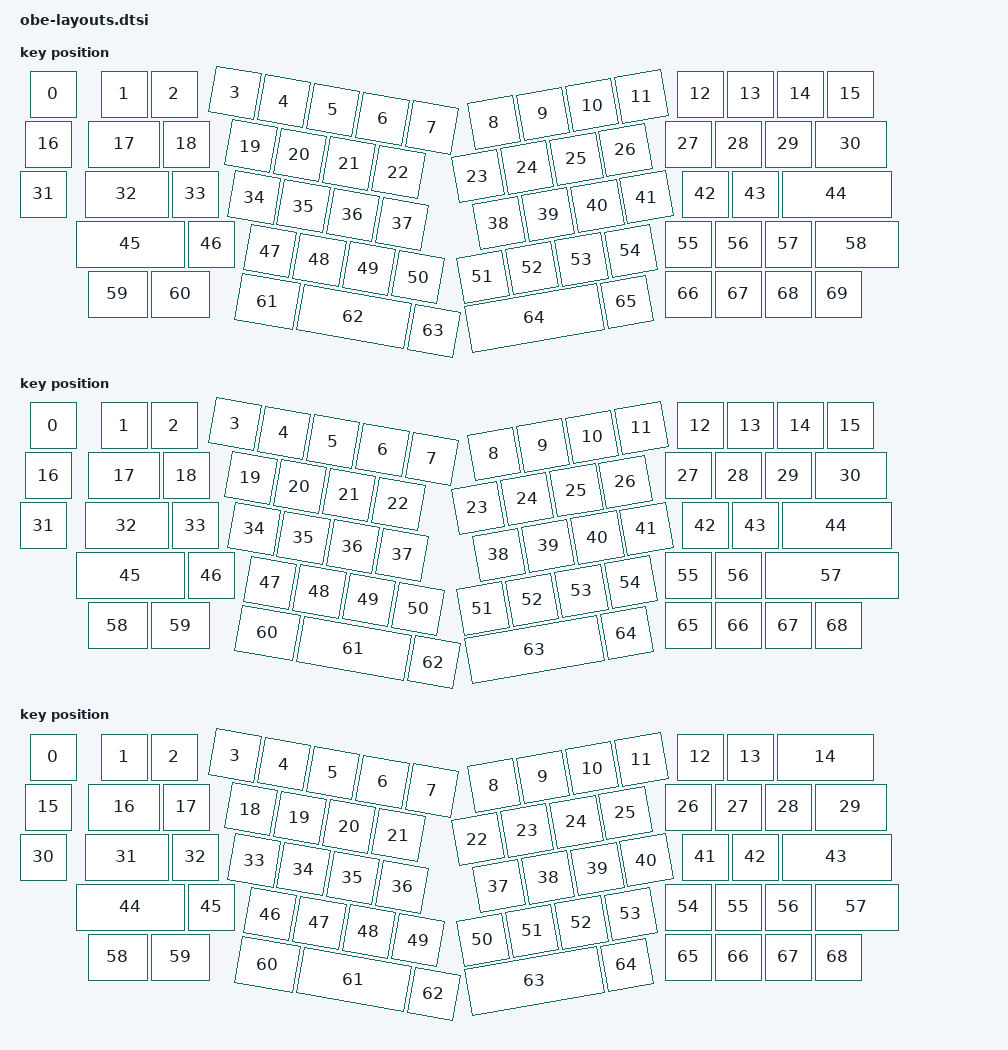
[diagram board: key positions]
/*
 * Copyright (c) 2024 The ZMK Contributors
 *
 * SPDX-License-Identifier: MIT
 */

#include <physical_layouts.dtsi>

/ {
    default_layout: keymap_layout_0 {
        compatible = "zmk,physical-layout";
        display-name = "Split Backspace/Arrows";

        transform = <&default_transform>;

        keys  //                     w   h    x    y     rot   rx   ry
            = <&key_physical_attrs 100 100   20   11       0    0    0>
            , <&key_physical_attrs 100 100  162   11       0    0    0>
            , <&key_physical_attrs 100 100  262   11       0    0    0>
            , <&key_physical_attrs 100 100  340  (-44)    1000  114  281>
            , <&key_physical_attrs 100 100  440  (-44)    1000  114  281>
            , <&key_physical_attrs 100 100  540  (-44)    1000  114  281>
            , <&key_physical_attrs 100 100  640  (-44)    1000  114  281>
            , <&key_physical_attrs 100 100  740  (-44)    1000  114  281>
            , <&key_physical_attrs 100 100  940   56 (-1000) 1040  331>
            , <&key_physical_attrs 100 100 1040   56 (-1000) 1040  331>
            , <&key_physical_attrs 100 100 1140   56 (-1000) 1040  331>
            , <&key_physical_attrs 100 100 1240   56 (-1000) 1040  331>
            , <&key_physical_attrs 100 100 1315   11       0    0    0>
            , <&key_physical_attrs 100 100 1415   11       0    0    0>
            , <&key_physical_attrs 100 100 1515   11       0    0    0>
            , <&key_physical_attrs 100 100 1614   11       0    0    0>
            , <&key_physical_attrs 100 100   10  111       0    0    0>
            , <&key_physical_attrs 150 100  137  111       0    0    0>
            , <&key_physical_attrs 100 100  287  111       0    0    0>
            , <&key_physical_attrs 100 100  390   56    1000  114  281>
            , <&key_physical_attrs 100 100  490   56    1000  114  281>
            , <&key_physical_attrs 100 100  590   56    1000  114  281>
            , <&key_physical_attrs 100 100  690   56    1000  114  281>
            , <&key_physical_attrs 100 100  890  156 (-1000) 1040  331>
            , <&key_physical_attrs 100 100  990  156 (-1000) 1040  331>
            , <&key_physical_attrs 100 100 1090  156 (-1000) 1040  331>
            , <&key_physical_attrs 100 100 1190  156 (-1000) 1040  331>
            , <&key_physical_attrs 100 100 1290  111       0    0    0>
            , <&key_physical_attrs 100 100 1390  111       0    0    0>
            , <&key_physical_attrs 100 100 1490  111       0    0    0>
            , <&key_physical_attrs 150 100 1590  111       0    0    0>
            , <&key_physical_attrs 100 100    0  211       0    0    0>
            , <&key_physical_attrs 175 100  130  211       0    0    0>
            , <&key_physical_attrs 100 100  305  211       0    0    0>
            , <&key_physical_attrs 100 100  415  156    1000  114  281>
            , <&key_physical_attrs 100 100  515  156    1000  114  281>
            , <&key_physical_attrs 100 100  615  156    1000  114  281>
            , <&key_physical_attrs 100 100  715  156    1000  114  281>
            , <&key_physical_attrs 100 100  915  256 (-1000) 1040  331>
            , <&key_physical_attrs 100 100 1015  256 (-1000) 1040  331>
            , <&key_physical_attrs 100 100 1115  256 (-1000) 1040  331>
            , <&key_physical_attrs 100 100 1215  256 (-1000) 1040  331>
            , <&key_physical_attrs 100 100 1325  211       0    0    0>
            , <&key_physical_attrs 100 100 1425  211       0    0    0>
            , <&key_physical_attrs 225 100 1525  211       0    0    0>
            , <&key_physical_attrs 225 100  112  311       0    0    0>
            , <&key_physical_attrs 100 100  337  311       0    0    0>
            , <&key_physical_attrs 100 100  465  256    1000  114  281>
            , <&key_physical_attrs 100 100  565  256    1000  114  281>
            , <&key_physical_attrs 100 100  665  256    1000  114  281>
            , <&key_physical_attrs 100 100  765  256    1000  114  281>
            , <&key_physical_attrs 100 100  865  356 (-1000) 1040  331>
            , <&key_physical_attrs 100 100  965  356 (-1000) 1040  331>
            , <&key_physical_attrs 100 100 1065  356 (-1000) 1040  331>
            , <&key_physical_attrs 100 100 1165  356 (-1000) 1040  331>
            , <&key_physical_attrs 100 100 1290  311       0    0    0>
            , <&key_physical_attrs 100 100 1390  311       0    0    0>
            , <&key_physical_attrs 100 100 1490  311       0    0    0>
            , <&key_physical_attrs 175 100 1590  311       0    0    0>
            , <&key_physical_attrs 125 100  137  411       0    0    0>
            , <&key_physical_attrs 125 100  262  411       0    0    0>
            , <&key_physical_attrs 125 100  465  356    1000  114  281>
            , <&key_physical_attrs 225 100  590  356    1000  114  281>
            , <&key_physical_attrs 100 100  815  356    1000  114  281>
            , <&key_physical_attrs 275 100  865  455 (-1000) 1040  331>
            , <&key_physical_attrs 100 100 1140  455 (-1000) 1040  331>
            , <&key_physical_attrs 100 100 1290  411       0    0    0>
            , <&key_physical_attrs 100 100 1390  411       0    0    0>
            , <&key_physical_attrs 100 100 1490  411       0    0    0>
            , <&key_physical_attrs 100 100 1590  411       0    0    0>
            ;

    };

    full_rshift_layout: keymap_layout_1 {
        compatible = "zmk,physical-layout";
        display-name = "Split Backspace/Arrowless";

        transform = <&full_rshift_transform>;

        keys  //                     w   h    x    y     rot   rx   ry
            = <&key_physical_attrs 100 100   20   11       0    0    0>
            , <&key_physical_attrs 100 100  162   11       0    0    0>
            , <&key_physical_attrs 100 100  262   11       0    0    0>
            , <&key_physical_attrs 100 100  340  (-44)    1000  114  281>
            , <&key_physical_attrs 100 100  440  (-44)    1000  114  281>
            , <&key_physical_attrs 100 100  540  (-44)    1000  114  281>
            , <&key_physical_attrs 100 100  640  (-44)    1000  114  281>
            , <&key_physical_attrs 100 100  740  (-44)    1000  114  281>
            , <&key_physical_attrs 100 100  940   56 (-1000) 1040  331>
            , <&key_physical_attrs 100 100 1040   56 (-1000) 1040  331>
            , <&key_physical_attrs 100 100 1140   56 (-1000) 1040  331>
            , <&key_physical_attrs 100 100 1240   56 (-1000) 1040  331>
            , <&key_physical_attrs 100 100 1315   11       0    0    0>
            , <&key_physical_attrs 100 100 1415   11       0    0    0>
            , <&key_physical_attrs 100 100 1515   11       0    0    0>
            , <&key_physical_attrs 100 100 1614   11       0    0    0>
            , <&key_physical_attrs 100 100   10  111       0    0    0>
            , <&key_physical_attrs 150 100  137  111       0    0    0>
            , <&key_physical_attrs 100 100  287  111       0    0    0>
            , <&key_physical_attrs 100 100  390   56    1000  114  281>
            , <&key_physical_attrs 100 100  490   56    1000  114  281>
            , <&key_physical_attrs 100 100  590   56    1000  114  281>
            , <&key_physical_attrs 100 100  690   56    1000  114  281>
            , <&key_physical_attrs 100 100  890  156 (-1000) 1040  331>
            , <&key_physical_attrs 100 100  990  156 (-1000) 1040  331>
            , <&key_physical_attrs 100 100 1090  156 (-1000) 1040  331>
            , <&key_physical_attrs 100 100 1190  156 (-1000) 1040  331>
            , <&key_physical_attrs 100 100 1290  111       0    0    0>
            , <&key_physical_attrs 100 100 1390  111       0    0    0>
            , <&key_physical_attrs 100 100 1490  111       0    0    0>
            , <&key_physical_attrs 150 100 1590  111       0    0    0>
            , <&key_physical_attrs 100 100    0  211       0    0    0>
            , <&key_physical_attrs 175 100  130  211       0    0    0>
            , <&key_physical_attrs 100 100  305  211       0    0    0>
            , <&key_physical_attrs 100 100  415  156    1000  114  281>
            , <&key_physical_attrs 100 100  515  156    1000  114  281>
            , <&key_physical_attrs 100 100  615  156    1000  114  281>
            , <&key_physical_attrs 100 100  715  156    1000  114  281>
            , <&key_physical_attrs 100 100  915  256 (-1000) 1040  331>
            , <&key_physical_attrs 100 100 1015  256 (-1000) 1040  331>
            , <&key_physical_attrs 100 100 1115  256 (-1000) 1040  331>
            , <&key_physical_attrs 100 100 1215  256 (-1000) 1040  331>
            , <&key_physical_attrs 100 100 1325  211       0    0    0>
            , <&key_physical_attrs 100 100 1425  211       0    0    0>
            , <&key_physical_attrs 225 100 1525  211       0    0    0>
            , <&key_physical_attrs 225 100  112  311       0    0    0>
            , <&key_physical_attrs 100 100  337  311       0    0    0>
            , <&key_physical_attrs 100 100  465  256    1000  114  281>
            , <&key_physical_attrs 100 100  565  256    1000  114  281>
            , <&key_physical_attrs 100 100  665  256    1000  114  281>
            , <&key_physical_attrs 100 100  765  256    1000  114  281>
            , <&key_physical_attrs 100 100  865  356 (-1000) 1040  331>
            , <&key_physical_attrs 100 100  965  356 (-1000) 1040  331>
            , <&key_physical_attrs 100 100 1065  356 (-1000) 1040  331>
            , <&key_physical_attrs 100 100 1165  356 (-1000) 1040  331>
            , <&key_physical_attrs 100 100 1290  311       0    0    0>
            , <&key_physical_attrs 100 100 1390  311       0    0    0>
            , <&key_physical_attrs 275 100 1490  311       0    0    0>
            , <&key_physical_attrs 125 100  137  411       0    0    0>
            , <&key_physical_attrs 125 100  262  411       0    0    0>
            , <&key_physical_attrs 125 100  465  356    1000  114  281>
            , <&key_physical_attrs 225 100  590  356    1000  114  281>
            , <&key_physical_attrs 100 100  815  356    1000  114  281>
            , <&key_physical_attrs 275 100  865  455 (-1000) 1040  331>
            , <&key_physical_attrs 100 100 1140  455 (-1000) 1040  331>
            , <&key_physical_attrs 100 100 1290  411       0    0    0>
            , <&key_physical_attrs 100 100 1390  411       0    0    0>
            , <&key_physical_attrs 100 100 1490  411       0    0    0>
            , <&key_physical_attrs 100 100 1590  411       0    0    0>
            ;
    };

    full_backspace_layout: keymap_layout_2 {
        compatible = "zmk,physical-layout";
        display-name = "Full Backspace/Arrows";

        transform = <&full_backspace_transform>;

        keys  //                     w   h    x    y     rot   rx   ry
            = <&key_physical_attrs 100 100   20   11       0    0    0>
            , <&key_physical_attrs 100 100  162   11       0    0    0>
            , <&key_physical_attrs 100 100  262   11       0    0    0>
            , <&key_physical_attrs 100 100  340  (-44)    1000  114  281>
            , <&key_physical_attrs 100 100  440  (-44)    1000  114  281>
            , <&key_physical_attrs 100 100  540  (-44)    1000  114  281>
            , <&key_physical_attrs 100 100  640  (-44)    1000  114  281>
            , <&key_physical_attrs 100 100  740  (-44)    1000  114  281>
            , <&key_physical_attrs 100 100  940   56 (-1000) 1040  331>
            , <&key_physical_attrs 100 100 1040   56 (-1000) 1040  331>
            , <&key_physical_attrs 100 100 1140   56 (-1000) 1040  331>
            , <&key_physical_attrs 100 100 1240   56 (-1000) 1040  331>
            , <&key_physical_attrs 100 100 1315   11       0    0    0>
            , <&key_physical_attrs 100 100 1415   11       0    0    0>
            , <&key_physical_attrs 200 100 1515   11       0    0    0>
            , <&key_physical_attrs 100 100   10  111       0    0    0>
            , <&key_physical_attrs 150 100  137  111       0    0    0>
            , <&key_physical_attrs 100 100  287  111       0    0    0>
            , <&key_physical_attrs 100 100  390   56    1000  114  281>
            , <&key_physical_attrs 100 100  490   56    1000  114  281>
            , <&key_physical_attrs 100 100  590   56    1000  114  281>
            , <&key_physical_attrs 100 100  690   56    1000  114  281>
            , <&key_physical_attrs 100 100  890  156 (-1000) 1040  331>
            , <&key_physical_attrs 100 100  990  156 (-1000) 1040  331>
            , <&key_physical_attrs 100 100 1090  156 (-1000) 1040  331>
            , <&key_physical_attrs 100 100 1190  156 (-1000) 1040  331>
            , <&key_physical_attrs 100 100 1290  111       0    0    0>
            , <&key_physical_attrs 100 100 1390  111       0    0    0>
            , <&key_physical_attrs 100 100 1490  111       0    0    0>
            , <&key_physical_attrs 150 100 1590  111       0    0    0>
            , <&key_physical_attrs 100 100    0  211       0    0    0>
            , <&key_physical_attrs 175 100  130  211       0    0    0>
            , <&key_physical_attrs 100 100  305  211       0    0    0>
            , <&key_physical_attrs 100 100  415  156    1000  114  281>
            , <&key_physical_attrs 100 100  515  156    1000  114  281>
            , <&key_physical_attrs 100 100  615  156    1000  114  281>
            , <&key_physical_attrs 100 100  715  156    1000  114  281>
            , <&key_physical_attrs 100 100  915  256 (-1000) 1040  331>
            , <&key_physical_attrs 100 100 1015  256 (-1000) 1040  331>
            , <&key_physical_attrs 100 100 1115  256 (-1000) 1040  331>
            , <&key_physical_attrs 100 100 1215  256 (-1000) 1040  331>
            , <&key_physical_attrs 100 100 1325  211       0    0    0>
            , <&key_physical_attrs 100 100 1425  211       0    0    0>
            , <&key_physical_attrs 225 100 1525  211       0    0    0>
            , <&key_physical_attrs 225 100  112  311       0    0    0>
            , <&key_physical_attrs 100 100  337  311       0    0    0>
            , <&key_physical_attrs 100 100  465  256    1000  114  281>
            , <&key_physical_attrs 100 100  565  256    1000  114  281>
            , <&key_physical_attrs 100 100  665  256    1000  114  281>
            , <&key_physical_attrs 100 100  765  256    1000  114  281>
            , <&key_physical_attrs 100 100  865  356 (-1000) 1040  331>
            , <&key_physical_attrs 100 100  965  356 (-1000) 1040  331>
            , <&key_physical_attrs 100 100 1065  356 (-1000) 1040  331>
            , <&key_physical_attrs 100 100 1165  356 (-1000) 1040  331>
            , <&key_physical_attrs 100 100 1290  311       0    0    0>
            , <&key_physical_attrs 100 100 1390  311       0    0    0>
            , <&key_physical_attrs 100 100 1490  311       0    0    0>
            , <&key_physical_attrs 175 100 1590  311       0    0    0>
            , <&key_physical_attrs 125 100  137  411       0    0    0>
            , <&key_physical_attrs 125 100  262  411       0    0    0>
            , <&key_physical_attrs 125 100  465  356    1000  114  281>
            , <&key_physical_attrs 225 100  590  356    1000  114  281>
            , <&key_physical_attrs 100 100  815  356    1000  114  281>
            , <&key_physical_attrs 275 100  865  455 (-1000) 1040  331>
            , <&key_physical_attrs 100 100 1140  455 (-1000) 1040  331>
            , <&key_physical_attrs 100 100 1290  411       0    0    0>
            , <&key_physical_attrs 100 100 1390  411       0    0    0>
            , <&key_physical_attrs 100 100 1490  411       0    0    0>
            , <&key_physical_attrs 100 100 1590  411       0    0    0>
            ;
    };

    full_backspace_full_rshift_layout: keymap_layout_3 {
        compatible = "zmk,physical-layout";
        display-name = "Full Backspace/Arrowless";

        transform = <&full_backspace_full_rshift_transform>;

        keys  //                     w   h    x    y     rot   rx   ry
            = <&key_physical_attrs 100 100   20   11       0    0    0>
            , <&key_physical_attrs 100 100  162   11       0    0    0>
            , <&key_physical_attrs 100 100  262   11       0    0    0>
            , <&key_physical_attrs 100 100  340  (-44)    1000  114  281>
            , <&key_physical_attrs 100 100  440  (-44)    1000  114  281>
            , <&key_physical_attrs 100 100  540  (-44)    1000  114  281>
            , <&key_physical_attrs 100 100  640  (-44)    1000  114  281>
            , <&key_physical_attrs 100 100  740  (-44)    1000  114  281>
            , <&key_physical_attrs 100 100  940   56 (-1000) 1040  331>
            , <&key_physical_attrs 100 100 1040   56 (-1000) 1040  331>
            , <&key_physical_attrs 100 100 1140   56 (-1000) 1040  331>
            , <&key_physical_attrs 100 100 1240   56 (-1000) 1040  331>
            , <&key_physical_attrs 100 100 1315   11       0    0    0>
            , <&key_physical_attrs 100 100 1415   11       0    0    0>
            , <&key_physical_attrs 200 100 1515   11       0    0    0>
            , <&key_physical_attrs 100 100   10  111       0    0    0>
            , <&key_physical_attrs 150 100  137  111       0    0    0>
            , <&key_physical_attrs 100 100  287  111       0    0    0>
            , <&key_physical_attrs 100 100  390   56    1000  114  281>
            , <&key_physical_attrs 100 100  490   56    1000  114  281>
            , <&key_physical_attrs 100 100  590   56    1000  114  281>
            , <&key_physical_attrs 100 100  690   56    1000  114  281>
            , <&key_physical_attrs 100 100  890  156 (-1000) 1040  331>
            , <&key_physical_attrs 100 100  990  156 (-1000) 1040  331>
            , <&key_physical_attrs 100 100 1090  156 (-1000) 1040  331>
            , <&key_physical_attrs 100 100 1190  156 (-1000) 1040  331>
            , <&key_physical_attrs 100 100 1290  111       0    0    0>
            , <&key_physical_attrs 100 100 1390  111       0    0    0>
            , <&key_physical_attrs 100 100 1490  111       0    0    0>
            , <&key_physical_attrs 150 100 1590  111       0    0    0>
            , <&key_physical_attrs 100 100    0  211       0    0    0>
            , <&key_physical_attrs 175 100  130  211       0    0    0>
            , <&key_physical_attrs 100 100  305  211       0    0    0>
            , <&key_physical_attrs 100 100  415  156    1000  114  281>
            , <&key_physical_attrs 100 100  515  156    1000  114  281>
            , <&key_physical_attrs 100 100  615  156    1000  114  281>
            , <&key_physical_attrs 100 100  715  156    1000  114  281>
            , <&key_physical_attrs 100 100  915  256 (-1000) 1040  331>
            , <&key_physical_attrs 100 100 1015  256 (-1000) 1040  331>
            , <&key_physical_attrs 100 100 1115  256 (-1000) 1040  331>
            , <&key_physical_attrs 100 100 1215  256 (-1000) 1040  331>
            , <&key_physical_attrs 100 100 1325  211       0    0    0>
            , <&key_physical_attrs 100 100 1425  211       0    0    0>
            , <&key_physical_attrs 225 100 1525  211       0    0    0>
            , <&key_physical_attrs 225 100  112  311       0    0    0>
            , <&key_physical_attrs 100 100  337  311       0    0    0>
            , <&key_physical_attrs 100 100  465  256    1000  114  281>
            , <&key_physical_attrs 100 100  565  256    1000  114  281>
            , <&key_physical_attrs 100 100  665  256    1000  114  281>
            , <&key_physical_attrs 100 100  765  256    1000  114  281>
            , <&key_physical_attrs 100 100  865  356 (-1000) 1040  331>
            , <&key_physical_attrs 100 100  965  356 (-1000) 1040  331>
            , <&key_physical_attrs 100 100 1065  356 (-1000) 1040  331>
            , <&key_physical_attrs 100 100 1165  356 (-1000) 1040  331>
            , <&key_physical_attrs 100 100 1290  311       0    0    0>
            , <&key_physical_attrs 100 100 1390  311       0    0    0>
            , <&key_physical_attrs 275 100 1490  311       0    0    0>
            , <&key_physical_attrs 125 100  137  411       0    0    0>
            , <&key_physical_attrs 125 100  262  411       0    0    0>
            , <&key_physical_attrs 125 100  465  356    1000  114  281>
            , <&key_physical_attrs 225 100  590  356    1000  114  281>
            , <&key_physical_attrs 100 100  815  356    1000  114  281>
            , <&key_physical_attrs 275 100  865  455 (-1000) 1040  331>
            , <&key_physical_attrs 100 100 1140  455 (-1000) 1040  331>
            , <&key_physical_attrs 100 100 1290  411       0    0    0>
            , <&key_physical_attrs 100 100 1390  411       0    0    0>
            , <&key_physical_attrs 100 100 1490  411       0    0    0>
            , <&key_physical_attrs 100 100 1590  411       0    0    0>
            ;
    };

    position_map {
        compatible = "zmk,physical-layout-position-map";

        default_map {
            physical-layout = <&default_layout>;
            positions = <14 15 57 58>;
        };

        full_rshift_map {
            physical-layout = <&full_rshift_layout>;
            positions = <14 15 69 57>;
        };

        full_backspace_map {
            physical-layout = <&full_backspace_layout>;
            positions = <69 14 56 57>;
        };

        full_backspace_full_rshift_map {
            physical-layout = <&full_backspace_full_rshift_layout>;
            positions = <68 14 69 56>;
        };
    };
};
